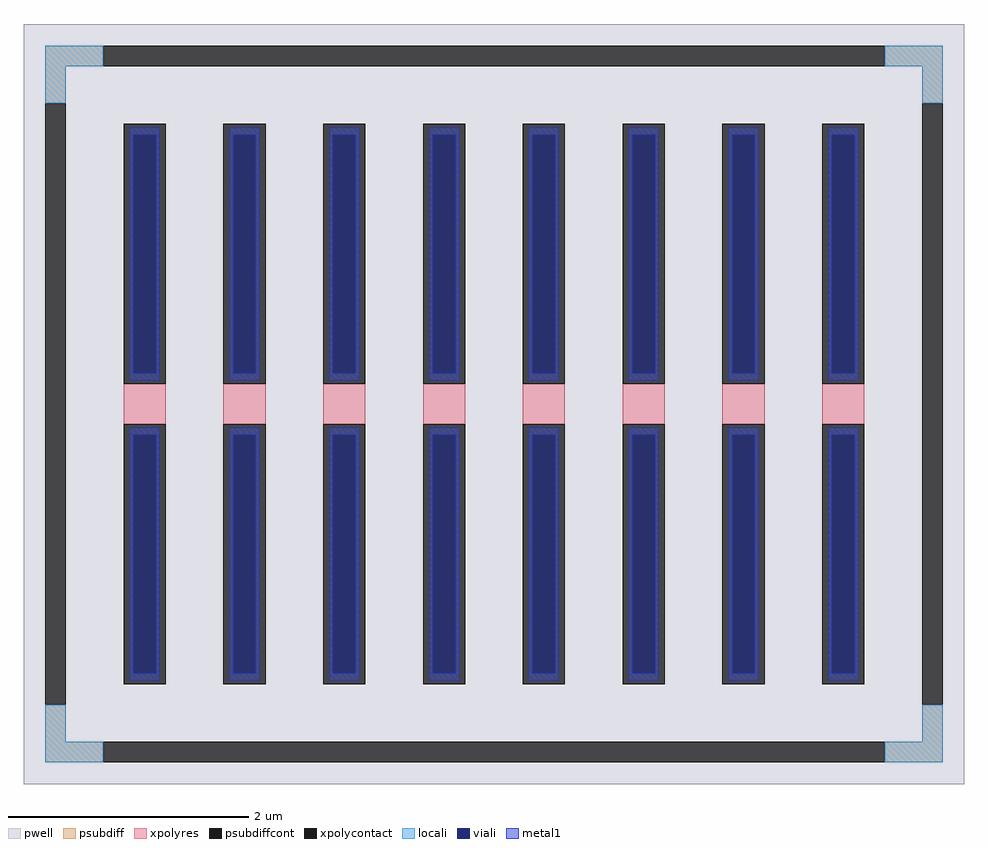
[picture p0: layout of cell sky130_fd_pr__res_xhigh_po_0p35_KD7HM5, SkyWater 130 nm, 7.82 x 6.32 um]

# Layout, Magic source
magic
tech sky130A
magscale 1 2
<< pwell >>
rect -782 -632 782 632
<< psubdiff >>
rect -746 562 -650 596
rect 650 562 746 596
rect -746 500 -712 562
rect 712 500 746 562
rect -746 -562 -712 -500
rect 712 -562 746 -500
rect -746 -596 -650 -562
rect 650 -596 746 -562
<< psubdiffcont >>
rect -650 562 650 596
rect -746 -500 -712 500
rect 712 -500 746 500
rect -650 -596 650 -562
<< xpolycontact >>
rect -616 34 -546 466
rect -616 -466 -546 -34
rect -450 34 -380 466
rect -450 -466 -380 -34
rect -284 34 -214 466
rect -284 -466 -214 -34
rect -118 34 -48 466
rect -118 -466 -48 -34
rect 48 34 118 466
rect 48 -466 118 -34
rect 214 34 284 466
rect 214 -466 284 -34
rect 380 34 450 466
rect 380 -466 450 -34
rect 546 34 616 466
rect 546 -466 616 -34
<< xpolyres >>
rect -616 -34 -546 34
rect -450 -34 -380 34
rect -284 -34 -214 34
rect -118 -34 -48 34
rect 48 -34 118 34
rect 214 -34 284 34
rect 380 -34 450 34
rect 546 -34 616 34
<< locali >>
rect -746 562 -650 596
rect 650 562 746 596
rect -746 500 -712 562
rect 712 500 746 562
rect -746 -562 -712 -500
rect 712 -562 746 -500
rect -746 -596 -650 -562
rect 650 -596 746 -562
<< viali >>
rect -600 51 -562 448
rect -434 51 -396 448
rect -268 51 -230 448
rect -102 51 -64 448
rect 64 51 102 448
rect 230 51 268 448
rect 396 51 434 448
rect 562 51 600 448
rect -600 -448 -562 -51
rect -434 -448 -396 -51
rect -268 -448 -230 -51
rect -102 -448 -64 -51
rect 64 -448 102 -51
rect 230 -448 268 -51
rect 396 -448 434 -51
rect 562 -448 600 -51
<< metal1 >>
rect -606 448 -556 460
rect -606 51 -600 448
rect -562 51 -556 448
rect -606 39 -556 51
rect -440 448 -390 460
rect -440 51 -434 448
rect -396 51 -390 448
rect -440 39 -390 51
rect -274 448 -224 460
rect -274 51 -268 448
rect -230 51 -224 448
rect -274 39 -224 51
rect -108 448 -58 460
rect -108 51 -102 448
rect -64 51 -58 448
rect -108 39 -58 51
rect 58 448 108 460
rect 58 51 64 448
rect 102 51 108 448
rect 58 39 108 51
rect 224 448 274 460
rect 224 51 230 448
rect 268 51 274 448
rect 224 39 274 51
rect 390 448 440 460
rect 390 51 396 448
rect 434 51 440 448
rect 390 39 440 51
rect 556 448 606 460
rect 556 51 562 448
rect 600 51 606 448
rect 556 39 606 51
rect -606 -51 -556 -39
rect -606 -448 -600 -51
rect -562 -448 -556 -51
rect -606 -460 -556 -448
rect -440 -51 -390 -39
rect -440 -448 -434 -51
rect -396 -448 -390 -51
rect -440 -460 -390 -448
rect -274 -51 -224 -39
rect -274 -448 -268 -51
rect -230 -448 -224 -51
rect -274 -460 -224 -448
rect -108 -51 -58 -39
rect -108 -448 -102 -51
rect -64 -448 -58 -51
rect -108 -460 -58 -448
rect 58 -51 108 -39
rect 58 -448 64 -51
rect 102 -448 108 -51
rect 58 -460 108 -448
rect 224 -51 274 -39
rect 224 -448 230 -51
rect 268 -448 274 -51
rect 224 -460 274 -448
rect 390 -51 440 -39
rect 390 -448 396 -51
rect 434 -448 440 -51
rect 390 -460 440 -448
rect 556 -51 606 -39
rect 556 -448 562 -51
rect 600 -448 606 -51
rect 556 -460 606 -448
<< properties >>
string FIXED_BBOX -729 -579 729 579
string gencell sky130_fd_pr__res_xhigh_po_0p35
string library sky130
string parameters w 0.350 l 0.50 m 1 nx 8 wmin 0.350 lmin 0.50 rho 2000 val 3.932k dummy 0 dw 0.0 term 188.2 sterm 0.0 caplen 0 wmax 0.350 guard 1 glc 1 grc 1 gtc 1 gbc 1 compatible {sky130_fd_pr__res_xhigh_po_0p35  sky130_fd_pr__res_xhigh_po_0p69 sky130_fd_pr__res_xhigh_po_1p41  sky130_fd_pr__res_xhigh_po_2p85 sky130_fd_pr__res_xhigh_po_5p73} snake 0 full_metal 1 n_guard 0 hv_guard 0 vias 1 viagb 0 viagt 0 viagl 0 viagr 0
<< end >>
